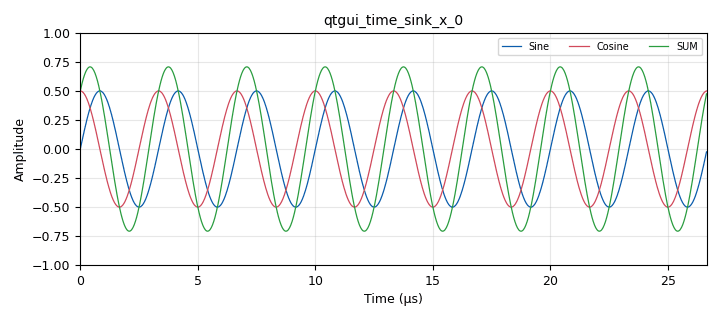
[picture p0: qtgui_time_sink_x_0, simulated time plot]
options:
  parameters:
    generate_options: qt_gui
    id: IQ_example_signal
    output_language: python
    title: IQ_example_corso
  states: {}

blocks:
- name: amp_I
  id: variable_qtgui_range
  parameters:
    label: Amplitude I
    start: '0'
    step: '0.01'
    stop: '1'
    value: '0.5'
  states: {}
- name: amp_Q
  id: variable_qtgui_range
  parameters:
    label: Amplitude Q
    start: '0'
    step: '0.01'
    stop: '1'
    value: '0.5'
  states: {}
- name: freq
  id: variable
  parameters:
    value: '300000'
  states: {}
- name: samp_rate
  id: variable
  parameters:
    value: '38400000'
  states: {}
- name: analog_sig_source_x_0
  id: analog_sig_source_x
  parameters:
    amp: '1'
    freq: freq
    offset: '0'
    phase: '0'
    samp_rate: samp_rate
    type: float
    waveform: analog.GR_SIN_WAVE
  states: {}
- name: analog_sig_source_x_0_0
  id: analog_sig_source_x
  parameters:
    amp: '1'
    freq: freq
    offset: '0'
    phase: '0'
    samp_rate: samp_rate
    type: float
    waveform: analog.GR_COS_WAVE
  states: {}
- name: blocks_add_xx_0
  id: blocks_add_xx
  parameters:
    type: float
  states: {}
- name: blocks_multiply_const_vxx_0
  id: blocks_multiply_const_vxx
  parameters:
    const: amp_Q
    type: float
  states: {}
- name: blocks_multiply_const_vxx_0_0
  id: blocks_multiply_const_vxx
  parameters:
    const: amp_I
    type: float
  states: {}
- name: blocks_throttle_0
  id: blocks_throttle
  parameters:
    samples_per_second: samp_rate
    type: float
  states: {}
- name: blocks_throttle_0_0
  id: blocks_throttle
  parameters:
    samples_per_second: samp_rate
    type: float
  states: {}
- name: qtgui_time_sink_x_0
  id: qtgui_time_sink_x
  parameters:
    color1: dark blue
    ctrlpanel: 'True'
    grid: 'True'
    label1: Sine
    label2: Cosine
    label3: SUM
    nconnections: '3'
    size: '1024'
    srate: samp_rate
    tr_mode: qtgui.TRIG_MODE_NORM
    type: float
    update_time: '0.01'
    width3: '3'
  states: {}

connections:
- [analog_sig_source_x_0, '0', blocks_throttle_0, '0']
- [analog_sig_source_x_0_0, '0', blocks_throttle_0_0, '0']
- [blocks_add_xx_0, '0', qtgui_time_sink_x_0, '2']
- [blocks_multiply_const_vxx_0, '0', blocks_add_xx_0, '1']
- [blocks_multiply_const_vxx_0, '0', qtgui_time_sink_x_0, '1']
- [blocks_multiply_const_vxx_0_0, '0', blocks_add_xx_0, '0']
- [blocks_multiply_const_vxx_0_0, '0', qtgui_time_sink_x_0, '0']
- [blocks_throttle_0, '0', blocks_multiply_const_vxx_0_0, '0']
- [blocks_throttle_0_0, '0', blocks_multiply_const_vxx_0, '0']

metadata:
  file_format: 1
  grc_version: 3.10.5.0
